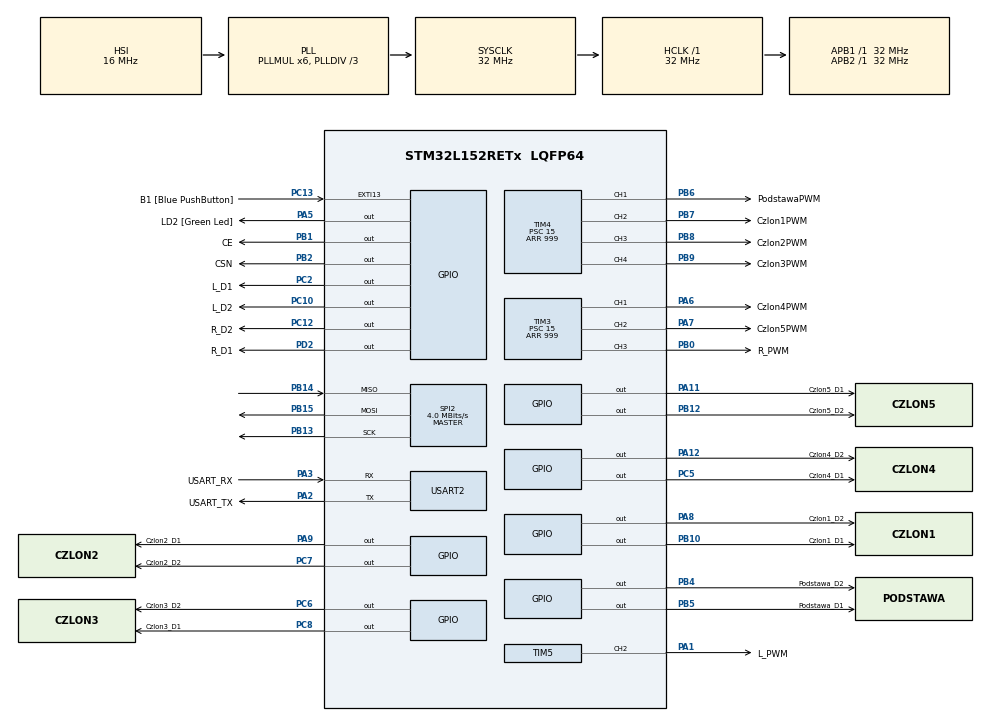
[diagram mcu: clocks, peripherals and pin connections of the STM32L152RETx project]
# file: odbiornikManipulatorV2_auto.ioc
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Mcu.Family=STM32L1
Mcu.Name=STM32L152RETx
Mcu.Package=LQFP64
NVIC.PriorityGroup=NVIC_PRIORITYGROUP_0
PA1.GPIO_Label=L_PWM
PA1.Signal=S_TIM5_CH2
PA11.GPIO_Label=Czlon5_D1
PA11.Signal=GPIO_Output
PA12.GPIO_Label=Czlon4_D2
PA12.Signal=GPIO_Output
PA13.GPIO_Label=TMS
PA13.Mode=Serial_Wire
PA13.Signal=SYS_JTMS-SWDIO
PA14.GPIO_Label=TCK
PA14.Mode=Serial_Wire
PA14.Signal=SYS_JTCK-SWCLK
PA2.GPIO_Label=USART_TX
PA2.Mode=Asynchronous
PA2.Signal=USART2_TX
PA3.GPIO_Label=USART_RX
PA3.Mode=Asynchronous
PA3.Signal=USART2_RX
PA5.GPIO_Label=LD2 [Green Led]
PA5.Signal=GPIO_Output
PA6.GPIO_Label=Czlon4PWM
PA6.Signal=S_TIM3_CH1
PA7.GPIO_Label=Czlon5PWM
PA7.Signal=S_TIM3_CH2
PA8.GPIO_Label=Czlon1_D2
PA8.Signal=GPIO_Output
PA9.GPIO_Label=Czlon2_D1
PA9.Signal=GPIO_Output
PB0.GPIO_Label=R_PWM
PB0.Signal=S_TIM3_CH3
PB1.GPIO_Label=CE
PB1.Signal=GPIO_Output
PB10.GPIO_Label=Czlon1_D1
PB10.Signal=GPIO_Output
PB12.GPIO_Label=Czlon5_D2
PB12.Signal=GPIO_Output
PB13.Mode=Full_Duplex_Master
PB13.Signal=SPI2_SCK
PB14.Mode=Full_Duplex_Master
PB14.Signal=SPI2_MISO
PB15.Mode=Full_Duplex_Master
PB15.Signal=SPI2_MOSI
PB2.GPIO_Label=CSN
PB2.Signal=GPIO_Output
PB3.GPIO_Label=SWO
PB3.Signal=SYS_JTDO-TRACESWO
PB4.GPIO_Label=Podstawa_D2
PB4.Signal=GPIO_Output
PB5.GPIO_Label=Podstawa_D1
PB5.Signal=GPIO_Output
PB6.GPIO_Label=PodstawaPWM
PB6.Signal=S_TIM4_CH1
PB7.GPIO_Label=Czlon1PWM
PB7.Signal=S_TIM4_CH2
PB8.GPIO_Label=Czlon2PWM
PB8.Signal=S_TIM4_CH3
PB9.GPIO_Label=Czlon3PWM
PB9.Signal=S_TIM4_CH4
PC10.GPIO_Label=L_D2
PC10.Signal=GPIO_Output
PC12.GPIO_Label=R_D2
PC12.Signal=GPIO_Output
PC13-WKUP2.GPIO_Label=B1 [Blue PushButton]
PC13-WKUP2.Signal=GPXTI13
PC14-OSC32_IN.Mode=LSE-External-Oscillator
PC14-OSC32_IN.Signal=RCC_OSC32_IN
PC15-OSC32_OUT.Mode=LSE-External-Oscillator
PC15-OSC32_OUT.Signal=RCC_OSC32_OUT
PC2.GPIO_Label=L_D1
PC2.Signal=GPIO_Output
PC5.GPIO_Label=Czlon4_D1
PC5.Signal=GPIO_Output
PC6.GPIO_Label=Czlon3_D2
PC6.Signal=GPIO_Output
PC7.GPIO_Label=Czlon2_D2
PC7.Signal=GPIO_Output
PC8.GPIO_Label=Czlon3_D1
PC8.Signal=GPIO_Output
PD2.GPIO_Label=R_D1
PD2.Signal=GPIO_Output
PH0-OSC_IN.Mode=HSE-External-Clock-Source
PH0-OSC_IN.Signal=RCC_OSC_IN
PH1-OSC_OUT.Signal=RCC_OSC_OUT
ProjectManager.HeapSize=0x200
ProjectManager.StackSize=0x400
ProjectManager.TargetToolchain=STM32CubeIDE
RCC.48MHZClocksFreq_Value=48000000
RCC.AHBFreq_Value=32000000
RCC.APB1Freq_Value=32000000
RCC.APB1TimFreq_Value=32000000
RCC.APB2Freq_Value=32000000
RCC.APB2TimFreq_Value=32000000
RCC.HCLKFreq_Value=32000000
RCC.HSE_VALUE=8000000
RCC.HSI_VALUE=16000000
RCC.MSI_VALUE=2097000
RCC.PLLDIV=RCC_PLL_DIV3
RCC.PLLMUL=RCC_PLL_MUL6
RCC.RTCClockSelectionVirtual=RCC_RTCCLKSOURCE_LSE
RCC.SYSCLKFreq_VALUE=32000000
RCC.SYSCLKSource=RCC_SYSCLKSOURCE_PLLCLK
RCC.USBOutput=48000000
RCC.VCOOutputFreq_Value=96000000
SH.S_TIM3_CH1.0=TIM3_CH1,PWM Generation1 CH1
SH.S_TIM3_CH2.0=TIM3_CH2,PWM Generation2 CH2
SH.S_TIM3_CH3.0=TIM3_CH3,PWM Generation3 CH3
SH.S_TIM4_CH1.0=TIM4_CH1,PWM Generation1 CH1
SH.S_TIM4_CH2.0=TIM4_CH2,PWM Generation2 CH2
SH.S_TIM4_CH3.0=TIM4_CH3,PWM Generation3 CH3
SH.S_TIM4_CH4.0=TIM4_CH4,PWM Generation4 CH4
SH.S_TIM5_CH2.0=TIM5_CH2,PWM Generation2 CH2
SPI2.BaudRatePrescaler=SPI_BAUDRATEPRESCALER_8
SPI2.CalculateBaudRate=4.0 MBits/s
SPI2.Direction=SPI_DIRECTION_2LINES
SPI2.Mode=SPI_MODE_MASTER
SPI2.VirtualType=VM_MASTER
TIM3.Channel-PWM\ Generation1\ CH1=TIM_CHANNEL_1
TIM3.Channel-PWM\ Generation2\ CH2=TIM_CHANNEL_2
TIM3.Channel-PWM\ Generation3\ CH3=TIM_CHANNEL_3
TIM3.OCPolarity_3=TIM_OCPOLARITY_HIGH
TIM3.Period=999
TIM3.Prescaler=15
TIM4.Channel-PWM\ Generation1\ CH1=TIM_CHANNEL_1
TIM4.Channel-PWM\ Generation2\ CH2=TIM_CHANNEL_2
TIM4.Channel-PWM\ Generation3\ CH3=TIM_CHANNEL_3
TIM4.Channel-PWM\ Generation4\ CH4=TIM_CHANNEL_4
TIM4.OC3Preload_PWM=ENABLE
TIM4.Period=999
TIM4.Prescaler=15
TIM5.Channel-PWM\ Generation2\ CH2=TIM_CHANNEL_2
TIM5.Period=999
TIM5.Prescaler=15
USART2.VirtualMode=VM_ASYNC
VP_TIM3_VS_ClockSourceINT.Mode=Internal
VP_TIM4_VS_ClockSourceINT.Mode=Internal
VP_TIM5_VS_ClockSourceINT.Mode=Internal
board=NUCLEO-L152RE

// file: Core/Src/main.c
/* USER CODE BEGIN Header */
/**
  ******************************************************************************
  * @file           : main.c
  * @brief          : Main program body
  ******************************************************************************
  * @attention
  *
  * Copyright (c) 2023 STMicroelectronics.
  * All rights reserved.
  *
  * This software is licensed under terms that can be found in the LICENSE file
  * in the root directory of this software component.
  * If no LICENSE file comes with this software, it is provided AS-IS.
  *
  ******************************************************************************
  */
/* USER CODE END Header */
#include "main.h"
#include "spi.h"
#include "tim.h"
#include "usart.h"
#include "gpio.h"

/* USER CODE BEGIN PD */
#define START_BYTE '*'
/* USER CODE END PD */

/* USER CODE BEGIN PV */
uint8_t uartData[4]; // For receiving 4 bytes
uint16_t c[8] = {0}; // Array to hold control data for motors
float pwmRight = 0;
float pwmLeft = 0;
float step = 0.25;
uint32_t time;
uint32_t timereset;
/* USER CODE END PV */

void SystemClock_Config(void);

int main(void)
{
  /* USER CODE BEGIN 1 */
  void stoppodst();
  void stopczlon5();
  void stopczlon1();
  void stopczlon2();
  void stopczlon3();
  void stopczlon4();

  void motor5control();
  void motor4control();
  void motor3control();
  void motor2control();
  void motor1control();
  void motor0control();
  void rightside();
  void leftside();
  void stopLmotorF();
  void stopRmotorF();
  void LmotorF();
  void LmotorB();
  void RmotorF();
  void RmotorB();
  void PWMval(uint8_t ch, uint16_t val);

  uint16_t map(uint16_t input_value, uint16_t minRange, uint16_t maxRange, uint16_t New_minRange, uint16_t New_maxRange);
  /* USER CODE END 1 */

  /* MCU Configuration--------------------------------------------------------*/

  /* Reset of all peripherals, Initializes the Flash interface and the Systick. */
  HAL_Init();

  /* Configure the system clock */
  SystemClock_Config();

  /* Initialize all configured peripherals */
  MX_GPIO_Init();
  MX_USART2_UART_Init();
  MX_SPI2_Init();
  MX_TIM3_Init();
  MX_TIM4_Init();
  MX_TIM5_Init();
  /* USER CODE BEGIN 2 */
  HAL_TIM_PWM_Start(&htim4, TIM_CHANNEL_1);
  HAL_TIM_PWM_Start(&htim4, TIM_CHANNEL_2);
  HAL_TIM_PWM_Start(&htim4, TIM_CHANNEL_3);
  HAL_TIM_PWM_Start(&htim4, TIM_CHANNEL_4);
  HAL_TIM_PWM_Start(&htim3, TIM_CHANNEL_1);
  HAL_TIM_PWM_Start(&htim3, TIM_CHANNEL_2);
  HAL_TIM_PWM_Start(&htim3, TIM_CHANNEL_3);
  HAL_TIM_PWM_Start(&htim5, TIM_CHANNEL_2);
  time = HAL_GetTick();
  timereset = HAL_GetTick();
  stoppodst();
  stopczlon5();
  stopczlon1();
  stopczlon2();
  stopczlon3();
  stopczlon4();
  stopLmotorF();
  stopRmotorF();
  /* USER CODE END 2 */

  /* Infinite loop */
  /* USER CODE BEGIN WHILE */
    if (HAL_UART_Receive(&huart2, uartData, 4, HAL_MAX_DELAY) == HAL_OK)
    {
      if (uartData[0] == START_BYTE)
      {
        uint8_t lpwm = uartData[1];
        uint8_t rpwm = uartData[2];
        uint8_t checksum = uartData[3];

        if (checksum == (lpwm + rpwm + START_BYTE))
        {
          pwmLeft = map(lpwm, 32, 127, -1000, 1000);
          pwmRight = map(rpwm, 32, 127, -1000, 1000);

          rightside();
          leftside();
          motor5control();
          motor4control();
          motor3control();
          motor2control();
          motor1control();
          motor0control();
        }
      }
    }

    if (HAL_GetTick() - timereset > 500)
    {
      stoppodst();
      stopczlon5();
      stopczlon1();
      stopczlon2();
      stopczlon3();
      stopczlon4();
      stopLmotorF();
      stopRmotorF();
    }

    /* USER CODE END WHILE */

  }

void SystemClock_Config(void)
{
  RCC_OscInitTypeDef RCC_OscInitStruct = {0};
  RCC_ClkInitTypeDef RCC_ClkInitStruct = {0};

  /** Configure the main internal regulator output voltage
  */
  __HAL_PWR_VOLTAGESCALING_CONFIG(PWR_REGULATOR_VOLTAGE_SCALE1);

  /** Initializes the RCC Oscillators according to the specified parameters
  * in the RCC_OscInitTypeDef structure.
  */
  RCC_OscInitStruct.OscillatorType = RCC_OSCILLATORTYPE_HSI;
  RCC_OscInitStruct.HSIState = RCC_HSI_ON;
  RCC_OscInitStruct.HSICalibrationValue = RCC_HSICALIBRATION_DEFAULT;
  RCC_OscInitStruct.PLL.PLLState = RCC_PLL_ON;
  RCC_OscInitStruct.PLL.PLLSource = RCC_PLLSOURCE_HSI;
  RCC_OscInitStruct.PLL.PLLMUL = RCC_PLL_MUL6;
  RCC_OscInitStruct.PLL.PLLDIV = RCC_PLL_DIV3;
  if (HAL_RCC_OscConfig(&RCC_OscInitStruct) != HAL_OK)
  {
    Error_Handler();
  }

  /** Initializes the CPU, AHB and APB buses clocks
  */
  RCC_ClkInitStruct.ClockType = RCC_CLOCKTYPE_HCLK|RCC_CLOCKTYPE_SYSCLK
                              |RCC_CLOCKTYPE_PCLK1|RCC_CLOCKTYPE_PCLK2;
  RCC_ClkInitStruct.SYSCLKSource = RCC_SYSCLKSOURCE_PLLCLK;
  RCC_ClkInitStruct.AHBCLKDivider = RCC_SYSCLK_DIV1;
  RCC_ClkInitStruct.APB1CLKDivider = RCC_HCLK_DIV1;
  RCC_ClkInitStruct.APB2CLKDivider = RCC_HCLK_DIV1;

  if (HAL_RCC_ClockConfig(&RCC_ClkInitStruct, FLASH_LATENCY_1) != HAL_OK)
  {
    Error_Handler();
  }
}

/* USER CODE BEGIN 4 */
uint16_t map(uint16_t input_value, uint16_t minRange, uint16_t maxRange, uint16_t New_minRange, uint16_t New_maxRange)
{
  return (((input_value - minRange) * (New_maxRange - New_minRange)) / (maxRange - minRange) + New_minRange);
}

void PWMval(uint8_t ch, uint16_t val)
{
  switch (ch)
  {
  case 0:
    __HAL_TIM_SET_COMPARE(&htim4, TIM_CHANNEL_1, val);
    break;
  case 1:
    __HAL_TIM_SET_COMPARE(&htim4, TIM_CHANNEL_2, val);
    break;
  case 2:
    __HAL_TIM_SET_COMPARE(&htim4, TIM_CHANNEL_3, val);
    break;
  case 3:
    __HAL_TIM_SET_COMPARE(&htim4, TIM_CHANNEL_4, val);
    break;
  case 4:
    __HAL_TIM_SET_COMPARE(&htim3, TIM_CHANNEL_1, val);
    break;
  case 5:
    __HAL_TIM_SET_COMPARE(&htim3, TIM_CHANNEL_2, val);
    break;
  case 6:
    __HAL_TIM_SET_COMPARE(&htim3, TIM_CHANNEL_3, val);
    break;
  case 7:
    __HAL_TIM_SET_COMPARE(&htim5, TIM_CHANNEL_2, val);
    break;
  }
}

void stopMotorControl(uint8_t motor)
{
	  void stoppodst();
	  void stopczlon5();
	  void stopczlon1();
	  void stopczlon2();
	  void stopczlon3();
	  void stopczlon4();
	  void stopRmotorF();
	  void stopLmotorF();

  switch (motor)
  {
  case 0:
    stoppodst();
    break;
  case 1:
    stopczlon1();
    break;
  case 2:
    stopczlon2();
    break;
  case 3:
    stopczlon3();
    break;
  case 4:
    stopczlon4();
    break;
  case 5:
    stopczlon5();
    break;
  case 6:
    stopRmotorF();
    break;
  case 7:
    stopLmotorF();
    break;
  }
}

void motorControl(uint8_t motor, GPIO_TypeDef* dirPort1, uint16_t dirPin1, GPIO_TypeDef* dirPort2, uint16_t dirPin2, uint16_t pwmChannel, uint16_t pwmValue)
{
  if (pwmValue > 50) {
    HAL_GPIO_WritePin(dirPort1, dirPin1, GPIO_PIN_RESET);
    HAL_GPIO_WritePin(dirPort2, dirPin2, GPIO_PIN_SET);
    PWMval(pwmChannel, pwmValue);
  }
  else if (pwmValue < -50) {
    HAL_GPIO_WritePin(dirPort1, dirPin1, GPIO_PIN_SET);
    HAL_GPIO_WritePin(dirPort2, dirPin2, GPIO_PIN_RESET);
    pwmValue = -pwmValue; // Make sure pwmValue is positive for PWM
    PWMval(pwmChannel, pwmValue);
  }
  else
  {
	  PWMval(pwmChannel, 0);
  }

}

void rightside()
{
  float targetPwm = pwmRight; // Ensure pwmRight and targetPwm are defined and used correctly
  pwmRight += (targetPwm > pwmRight) ? step : -step;
  motorControl(6, R_D1_GPIO_Port, R_D1_Pin, R_D2_GPIO_Port, R_D2_Pin, 6, pwmRight);
}

void leftside()
{
  float targetPwm = pwmLeft; // Ensure pwmLeft and targetPwm are defined and used correctly
  pwmLeft += (targetPwm > pwmLeft) ? step : -step;
  motorControl(7, L_D1_GPIO_Port, L_D1_Pin, L_D2_GPIO_Port, L_D2_Pin, 7, pwmLeft);
}

void motor0control() { motorControl(0, Podstawa_D1_GPIO_Port, Podstawa_D1_Pin, Podstawa_D2_GPIO_Port, Podstawa_D2_Pin, 0, 1000); }
void motor1control() { motorControl(1, Czlon1_D1_GPIO_Port, Czlon1_D1_Pin, Czlon1_D2_GPIO_Port, Czlon1_D2_Pin, 1, 1000); }
void motor2control() { motorControl(2, Czlon2_D1_GPIO_Port, Czlon2_D1_Pin, Czlon2_D2_GPIO_Port, Czlon2_D2_Pin, 2, 1000); }
void motor3control() { motorControl(3, Czlon3_D1_GPIO_Port, Czlon3_D1_Pin, Czlon3_D2_GPIO_Port, Czlon3_D2_Pin, 3, 1000); }
void motor4control() { motorControl(4, Czlon4_D1_GPIO_Port, Czlon4_D1_Pin, Czlon4_D2_GPIO_Port, Czlon4_D2_Pin, 4, 1000); }
void motor5control() { motorControl(5, Czlon5_D1_GPIO_Port, Czlon5_D1_Pin, Czlon5_D2_GPIO_Port, Czlon5_D2_Pin, 5, 1000); }

void stoppodst() { HAL_GPIO_WritePin(Podstawa_D1_GPIO_Port, Podstawa_D1_Pin, GPIO_PIN_SET); HAL_GPIO_WritePin(Podstawa_D2_GPIO_Port, Podstawa_D2_Pin, GPIO_PIN_SET); }
void stopczlon1() { HAL_GPIO_WritePin(Czlon1_D1_GPIO_Port, Czlon1_D1_Pin, GPIO_PIN_SET); HAL_GPIO_WritePin(Czlon1_D2_GPIO_Port, Czlon1_D2_Pin, GPIO_PIN_SET); }
void stopczlon2() { HAL_GPIO_WritePin(Czlon2_D1_GPIO_Port, Czlon2_D1_Pin, GPIO_PIN_SET); HAL_GPIO_WritePin(Czlon2_D2_GPIO_Port, Czlon2_D2_Pin, GPIO_PIN_SET); }
void stopczlon3() { HAL_GPIO_WritePin(Czlon3_D1_GPIO_Port, Czlon3_D1_Pin, GPIO_PIN_SET); HAL_GPIO_WritePin(Czlon3_D2_GPIO_Port, Czlon3_D2_Pin, GPIO_PIN_SET); }
void stopczlon4() { HAL_GPIO_WritePin(Czlon4_D1_GPIO_Port, Czlon4_D1_Pin, GPIO_PIN_SET); HAL_GPIO_WritePin(Czlon4_D2_GPIO_Port, Czlon4_D2_Pin, GPIO_PIN_SET); }
void stopczlon5() { HAL_GPIO_WritePin(Czlon5_D1_GPIO_Port, Czlon5_D1_Pin, GPIO_PIN_SET); HAL_GPIO_WritePin(Czlon5_D2_GPIO_Port, Czlon5_D2_Pin, GPIO_PIN_SET); }
void stopLmotorF() { HAL_GPIO_WritePin(L_D1_GPIO_Port, L_D1_Pin, GPIO_PIN_SET); HAL_GPIO_WritePin(L_D2_GPIO_Port, L_D2_Pin, GPIO_PIN_SET); }
void stopRmotorF() { HAL_GPIO_WritePin(R_D1_GPIO_Port, R_D1_Pin, GPIO_PIN_SET); HAL_GPIO_WritePin(R_D2_GPIO_Port, R_D2_Pin, GPIO_PIN_SET); }

//void kinematyka()
//{
//	float l1=0.39;
//	float l2=0.335;
//	float l3=0.23;
//	float fi=0;
//
//
//
//	float x=0.5;
//	float y=0.3;
//
//	float x2=x-l3;
//	float y2=y;
//
//
//	float teta2=acos(((x2^2)+(y2^2)-(l1^2)-(l2^2))/(2*l1*l2));
//	float teta1=acos(((x2^2)+((l1+l2*cos(teta2))^2)-((y2-l2*sin(teta2))^2))/(2*x2*(l1+l2*cos(teta2))));
//	float teta3=fi-teta1-teta2;
//
//}

/* USER CODE END 4 */

void Error_Handler(void)
{
  __disable_irq();
  while (1)
  {
  }
}
